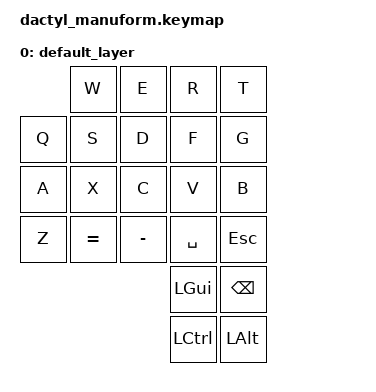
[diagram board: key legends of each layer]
/*
 * Copyright (c) 2020-2021 The ZMK Contributors
 *
 * SPDX-License-Identifier: MIT
 */

#include <behaviors.dtsi>
#include <dt-bindings/zmk/keys.h>
#include <dt-bindings/zmk/bt.h>
#include <dt-bindings/zmk/outputs.h>

/ {
    keymap {
        compatible = "zmk,keymap";

        default_layer {
            bindings = <
                    &kp W       &kp E       &kp R       &kp T
            &kp Q   &kp S       &kp D       &kp F       &kp G
            &kp A   &kp X       &kp C       &kp V       &kp B
            &kp Z   &kp EQUAL   &kp MINUS   &kp SPACE   &kp ESC
                                            &kp LGUI    &kp BSPC
                                            &kp LCTRL   &kp LALT
            >;
        };
    };
};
